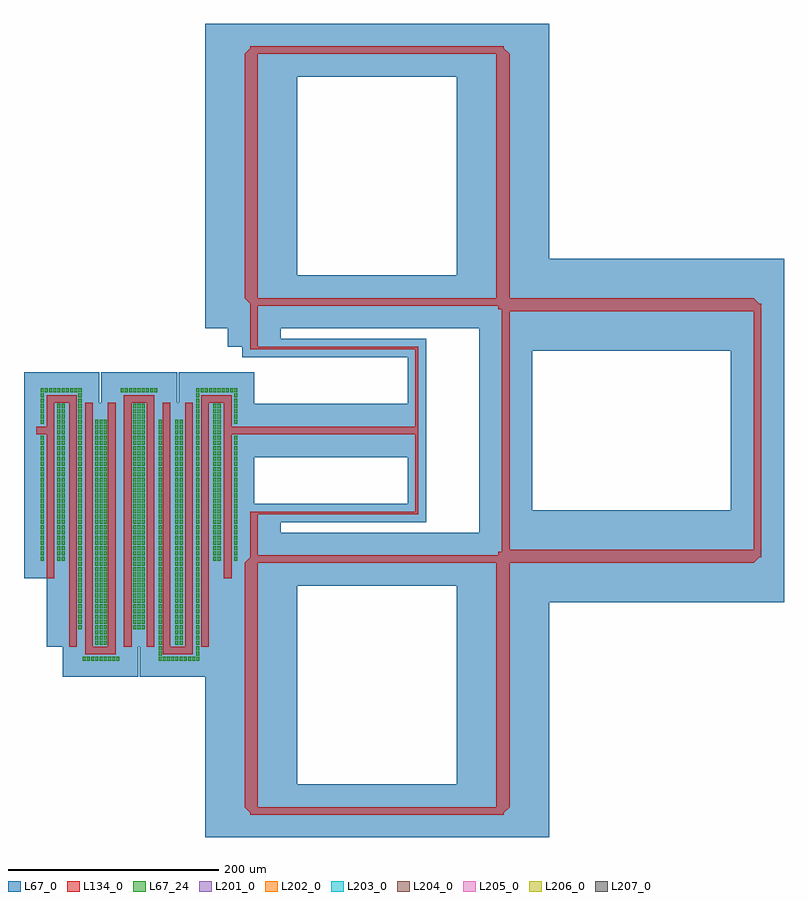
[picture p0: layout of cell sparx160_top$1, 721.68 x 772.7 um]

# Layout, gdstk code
from math import pi, radians
import gdstk
lib = gdstk.Library(unit=1e-6, precision=5e-09)
def R(c, l, rs):  # rectangles x0, y0, x1, y1
    for r in rs: c.add(gdstk.rectangle(r[:2], r[2:], *l))
def P(c, l, *ps):  # polygons
    for p in ps: c.add(gdstk.Polygon(p, *l))
L67_0 = (67, 0)
L67_24 = (67, 24)
L134_0 = (134, 0)
L201_0 = (201, 0)
L202_0 = (202, 0)
L203_0 = (203, 0)
L204_0 = (204, 0)
L205_0 = (205, 0)
L206_0 = (206, 0)
L207_0 = (207, 0)

unnamed_3 = lib.new_cell('Unnamed_3')
R(unnamed_3, L67_0, [(0,0,50.4,87.57)])

unnamed_2 = lib.new_cell('Unnamed_2')
P(unnamed_2, L134_0, [(0,0),(0,7.2),(1.89,7.2),(7.2,12.51),(7.2,0)])
unnamed_2.add(gdstk.Reference(unnamed_3, (-21.6,-37.53)))

straight_gdsfactorypcomp = lib.new_cell('straight_gdsfactorypcomponentspwaveguidespstraight_L231_5d7450e7')
R(straight_gdsfactorypcomp, L134_0, [(0,-6.255,231.795,6.255)])

c_straight_gdsfactorypcomp = lib.new_cell('straight_gdsfactorypcomponentspwaveguidespstraight_L231_cb36f531')
R(c_straight_gdsfactorypcomp, L67_0, [(0,-43.785,231.795,43.785)])

tline_l231p7950000000000 = lib.new_cell('tline_L231p79500000000002_SCStopmetal2_routing_GCSmetal_275d51db')
tline_l231p7950000000000.add(gdstk.Reference(straight_gdsfactorypcomp, (0,0)))
tline_l231p7950000000000.add(gdstk.Reference(c_straight_gdsfactorypcomp, (0,0)))

c_straight_gdsfactorypcomp_ = lib.new_cell('straight_gdsfactorypcomponentspwaveguidespstraight_L226_b9e63a2a')
R(c_straight_gdsfactorypcomp_, L134_0, [(0,-3.6,226.485,3.6)])

c_straight_gdsfactorypcomp__ = lib.new_cell('straight_gdsfactorypcomponentspwaveguidespstraight_L226_19558a9a')
R(c_straight_gdsfactorypcomp__, L67_0, [(0,-25.2,226.485,25.2)])

tline_l226p485_scstopmet = lib.new_cell('tline_L226p485_SCStopmetal2_routing_GCSmetal5_routing_W_1d3a9e0a')
tline_l226p485_scstopmet.add(gdstk.Reference(c_straight_gdsfactorypcomp_, (0,0)))
tline_l226p485_scstopmet.add(gdstk.Reference(c_straight_gdsfactorypcomp__, (0,0)))

c_straight_gdsfactorypcomp___ = lib.new_cell('straight_gdsfactorypcomponentspwaveguidespstraight_L0_N_314f84cf')

c_straight_gdsfactorypcomp____ = lib.new_cell('straight_gdsfactorypcomponentspwaveguidespstraight_L0_N_18075a77')

tline_l0_scstopmetal2_ro = lib.new_cell('tline_L0_SCStopmetal2_routing_GCSmetal5_routing_W7p2_ZNone_N2')
tline_l0_scstopmetal2_ro.add(gdstk.Reference(c_straight_gdsfactorypcomp___, (0,0)))
tline_l0_scstopmetal2_ro.add(gdstk.Reference(c_straight_gdsfactorypcomp____, (0,0)))

branch_line_coupler_cl0_ = lib.new_cell('branch_line_coupler_CL0_F160000000000_SCStopmetal2_rout_0bc8d971')
branch_line_coupler_cl0_.add(gdstk.Reference(unnamed_2, (0,0)))
branch_line_coupler_cl0_.add(gdstk.Reference(tline_l231p7950000000000, (7.2,6.255)))
branch_line_coupler_cl0_.add(gdstk.Reference(unnamed_2, (246.195,0), rotation=pi, x_reflection=True))
branch_line_coupler_cl0_.add(gdstk.Reference(tline_l226p485_scstopmet, (3.6,0), rotation=3*pi/2))
branch_line_coupler_cl0_.add(gdstk.Reference(unnamed_2, (0,-226.485), x_reflection=True))
branch_line_coupler_cl0_.add(gdstk.Reference(tline_l231p7950000000000, (7.2,-232.74)))
branch_line_coupler_cl0_.add(gdstk.Reference(unnamed_2, (246.195,-226.485), rotation=pi))
branch_line_coupler_cl0_.add(gdstk.Reference(tline_l226p485_scstopmet, (242.595,0), rotation=3*pi/2))
branch_line_coupler_cl0_.add(gdstk.Reference(tline_l0_scstopmetal2_ro, (0,3.6), rotation=pi))
branch_line_coupler_cl0_.add(gdstk.Reference(tline_l0_scstopmetal2_ro, (246.195,3.6)))
branch_line_coupler_cl0_.add(gdstk.Reference(tline_l0_scstopmetal2_ro, (246.195,-230.085)))
branch_line_coupler_cl0_.add(gdstk.Reference(tline_l0_scstopmetal2_ro, (0,-230.085), rotation=pi))

tline_corner_l10_scstopm = lib.new_cell('tline_corner_L10_SCStopmetal2_routing_GCSmetal5_routing_4aa254a8')
R(tline_corner_l10_scstopm, L67_0, [(-10.26,-10.26,13.68,13.68)])
R(tline_corner_l10_scstopm, L134_0, [(0,0,3.42,3.42)])

unnamed_16 = lib.new_cell('Unnamed_16')
R(unnamed_16, L67_0, [(0,0,17.57,50.4)])

unnamed_15 = lib.new_cell('Unnamed_15')
R(unnamed_15, L134_0, [(0,0,2.51,7.2)])
unnamed_15.add(gdstk.Reference(unnamed_16, (-7.53,-21.6)))

c_straight_gdsfactorypcomp_____ = lib.new_cell('straight_gdsfactorypcomponentspwaveguidespstraight_L73p_54cef11e')
R(c_straight_gdsfactorypcomp_____, L134_0, [(0,-1.255,73.555,1.255)])

c_straight_gdsfactorypcomp______ = lib.new_cell('straight_gdsfactorypcomponentspwaveguidespstraight_L73p_d8e3ae46')
R(c_straight_gdsfactorypcomp______, L67_0, [(0,-8.785,73.555,8.785)])

tline_l73p555_scstopmeta = lib.new_cell('tline_L73p555_SCStopmetal2_routing_GCSmetal5_routing_W2_d8eaad6d')
tline_l73p555_scstopmeta.add(gdstk.Reference(c_straight_gdsfactorypcomp_____, (0,0)))
tline_l73p555_scstopmeta.add(gdstk.Reference(c_straight_gdsfactorypcomp______, (0,0)))

c_tline_corner_l10_scstopm = lib.new_cell('tline_corner_L10_SCStopmetal2_routing_GCSmetal5_routing_bb404b77')
R(c_tline_corner_l10_scstopm, L67_0, [(-7.53,-7.53,10.04,10.04)])
R(c_tline_corner_l10_scstopm, L134_0, [(0,0,2.51,2.51)])

c_straight_gdsfactorypcomp_______ = lib.new_cell('straight_gdsfactorypcomponentspwaveguidespstraight_L154_e49cfd84')
R(c_straight_gdsfactorypcomp_______, L134_0, [(0,-1.255,154.31,1.255)])

c_straight_gdsfactorypcomp________ = lib.new_cell('straight_gdsfactorypcomponentspwaveguidespstraight_L154_056d6ddc')
R(c_straight_gdsfactorypcomp________, L67_0, [(0,-8.785,154.31,8.785)])

tline_l154p31_scstopmeta = lib.new_cell('tline_L154p31_SCStopmetal2_routing_GCSmetal5_routing_W2_197b1b74')
tline_l154p31_scstopmeta.add(gdstk.Reference(c_straight_gdsfactorypcomp_______, (0,0)))
tline_l154p31_scstopmeta.add(gdstk.Reference(c_straight_gdsfactorypcomp________, (0,0)))

wilkinson_power_divider_ = lib.new_cell('wilkinson_power_divider_CL0_F160000000000_Z50_SCStopmet_65365093')
wilkinson_power_divider_.add(gdstk.Reference(tline_l0_scstopmetal2_ro, (0,0)))
wilkinson_power_divider_.add(gdstk.Reference(unnamed_15, (0,-3.6)))
wilkinson_power_divider_.add(gdstk.Reference(tline_l73p555_scstopmeta, (1.255,3.6), rotation=pi/2))
wilkinson_power_divider_.add(gdstk.Reference(c_tline_corner_l10_scstopm, (2.51,79.665), rotation=pi))
wilkinson_power_divider_.add(gdstk.Reference(tline_l73p555_scstopmeta, (1.255,-3.6), rotation=3*pi/2))
wilkinson_power_divider_.add(gdstk.Reference(c_tline_corner_l10_scstopm, (0,-77.155), rotation=3*pi/2))
wilkinson_power_divider_.add(gdstk.Reference(tline_l154p31_scstopmeta, (2.51,78.41)))
wilkinson_power_divider_.add(gdstk.Reference(tline_l154p31_scstopmeta, (2.51,-78.41)))
wilkinson_power_divider_.add(gdstk.Reference(c_tline_corner_l10_scstopm, (156.82,77.155)))
wilkinson_power_divider_.add(gdstk.Reference(c_tline_corner_l10_scstopm, (159.33,-79.665), rotation=pi/2))
wilkinson_power_divider_.add(gdstk.Reference(tline_l0_scstopmetal2_ro, (155.73,79.665), rotation=pi/2))
wilkinson_power_divider_.add(gdstk.Reference(tline_l0_scstopmetal2_ro, (155.73,-79.665), rotation=3*pi/2))

c_straight_gdsfactorypcomp_________ = lib.new_cell('straight_gdsfactorypcomponentspwaveguidespstraight_L38p_f5dd7e4b')
R(c_straight_gdsfactorypcomp_________, L134_0, [(0,-3.6,38.89,3.6)])

c_straight_gdsfactorypcomp__________ = lib.new_cell('straight_gdsfactorypcomponentspwaveguidespstraight_L38p_774cb26f')
R(c_straight_gdsfactorypcomp__________, L67_0, [(0,-25.2,38.89,25.2)])

tline_l38p8875_scstopmet = lib.new_cell('tline_L38p8875_SCStopmetal2_routing_GCSmetal5_routing_W_2e6dfdda')
tline_l38p8875_scstopmet.add(gdstk.Reference(c_straight_gdsfactorypcomp_________, (0,0)))
tline_l38p8875_scstopmet.add(gdstk.Reference(c_straight_gdsfactorypcomp__________, (0,0)))

c_straight_gdsfactorypcomp___________ = lib.new_cell('straight_gdsfactorypcomponentspwaveguidespstraight_L167_452b5fe8')
R(c_straight_gdsfactorypcomp___________, L134_0, [(0,-3.6,167.18,3.6)])

c_straight_gdsfactorypcomp____________ = lib.new_cell('straight_gdsfactorypcomponentspwaveguidespstraight_L167_4885c99a')
R(c_straight_gdsfactorypcomp____________, L67_0, [(0,-25.2,167.18,25.2)])

tline_l167p181_scstopmet = lib.new_cell('tline_L167p181_SCStopmetal2_routing_GCSmetal5_routing_W_d96e1aa7')
tline_l167p181_scstopmet.add(gdstk.Reference(c_straight_gdsfactorypcomp___________, (0,0)))
tline_l167p181_scstopmet.add(gdstk.Reference(c_straight_gdsfactorypcomp____________, (0,0)))

c_straight_gdsfactorypcomp_____________ = lib.new_cell('straight_gdsfactorypcomponentspwaveguidespstraight_L10__462e98a7')
R(c_straight_gdsfactorypcomp_____________, L134_0, [(0,-3.6,10,3.6)])

c_straight_gdsfactorypcomp______________ = lib.new_cell('straight_gdsfactorypcomponentspwaveguidespstraight_L10__690d543a')
R(c_straight_gdsfactorypcomp______________, L67_0, [(0,-25.2,10,25.2)])

tline_l10_scstopmetal2_r = lib.new_cell('tline_L10_SCStopmetal2_routing_GCSmetal5_routing_WNone_Z50_N2')
tline_l10_scstopmetal2_r.add(gdstk.Reference(c_straight_gdsfactorypcomp_____________, (0,0)))
tline_l10_scstopmetal2_r.add(gdstk.Reference(c_straight_gdsfactorypcomp______________, (0,0)))

c_straight_gdsfactorypcomp_______________ = lib.new_cell('straight_gdsfactorypcomponentspwaveguidespstraight_L166_27507053')
R(c_straight_gdsfactorypcomp_______________, L134_0, [(0,-3.6,166.83,3.6)])

c_straight_gdsfactorypcomp________________ = lib.new_cell('straight_gdsfactorypcomponentspwaveguidespstraight_L166_8440dd5a')
R(c_straight_gdsfactorypcomp________________, L67_0, [(0,-25.2,166.83,25.2)])

tline_l166p83_scstopmeta = lib.new_cell('tline_L166p83_SCStopmetal2_routing_GCSmetal5_routing_WN_d4e773c3')
tline_l166p83_scstopmeta.add(gdstk.Reference(c_straight_gdsfactorypcomp_______________, (0,0)))
tline_l166p83_scstopmeta.add(gdstk.Reference(c_straight_gdsfactorypcomp________________, (0,0)))

coupler_tline_z55p445032 = lib.new_cell('coupler_tline_Z55p445032974130925_Z45p5367147301159_L23_81a19ac5')
R(coupler_tline_z55p445032, L67_0, [(0,-32.52,231.63,32.52)])
R(coupler_tline_z55p445032, L134_0, [(0,-11.13,231.63,-4), (0,4,231.63,11.13)])

rectangle_gdsfactorypcom = lib.new_cell('rectangle_gdsfactorypcomponentspshapesprectangle_S7p2_7_2a688ad3')
R(rectangle_gdsfactorypcom, L134_0, [(0,0,7.2,7.2)])

unnamed_45 = lib.new_cell('Unnamed_45')
R(unnamed_45, L67_0, [(0,0,50.4,50.4)])

c__corner_rectangle_w7p2_l = lib.new_cell('_corner_rectangle_W7p2_L7p2_SCStopmetal2_routing_GCSmet_6323a6bc')
c__corner_rectangle_w7p2_l.add(gdstk.Reference(rectangle_gdsfactorypcom, (0,0)))
c__corner_rectangle_w7p2_l.add(gdstk.Reference(unnamed_45, (-21.6,-21.6)))

c_straight_gdsfactorypcomp_________________ = lib.new_cell('straight_gdsfactorypcomponentspwaveguidespstraight_L14p_fff0b771')
R(c_straight_gdsfactorypcomp_________________, L134_0, [(0,-3.6,14.33,3.6)])

c_straight_gdsfactorypcomp__________________ = lib.new_cell('straight_gdsfactorypcomponentspwaveguidespstraight_L14p_afb3fce0')
R(c_straight_gdsfactorypcomp__________________, L67_0, [(0,-25.2,14.33,25.2)])

tline_l14p33_scstopmetal = lib.new_cell('tline_L14p33_SCStopmetal2_routing_GCSmetal5_routing_WNone_Z50_N2')
tline_l14p33_scstopmetal.add(gdstk.Reference(c_straight_gdsfactorypcomp_________________, (0,0)))
tline_l14p33_scstopmetal.add(gdstk.Reference(c_straight_gdsfactorypcomp__________________, (0,0)))

c_rectangle_gdsfactorypcom = lib.new_cell('rectangle_gdsfactorypcomponentspshapesprectangle_S7p13__ae953bf7')
R(c_rectangle_gdsfactorypcom, L134_0, [(0,0,7.13,7.2)])

unnamed_52 = lib.new_cell('Unnamed_52')
R(unnamed_52, L67_0, [(0,0,49.91,50.4)])

c__corner_rectangle_w7p2_l_ = lib.new_cell('_corner_rectangle_W7p2_L7p13_SCStopmetal2_routing_GCSme_0a65c955')
c__corner_rectangle_w7p2_l_.add(gdstk.Reference(c_rectangle_gdsfactorypcom, (0,0)))
c__corner_rectangle_w7p2_l_.add(gdstk.Reference(unnamed_52, (-21.39,-21.6)))

coupler_tline_z50p349509 = lib.new_cell('coupler_tline_Z50p349509800930605_Z49p65530934184336_L2_123dc688')
R(coupler_tline_z50p349509, L67_0, [(0,-32.8,231.63,32.8)])
R(coupler_tline_z50p349509, L134_0, [(0,-11.2,231.63,-4), (0,4,231.63,11.2)])

c_straight_gdsfactorypcomp___________________ = lib.new_cell('straight_gdsfactorypcomponentspwaveguidespstraight_L14p_055b01f6')
R(c_straight_gdsfactorypcomp___________________, L134_0, [(0,-3.6,14.4,3.6)])

c_straight_gdsfactorypcomp____________________ = lib.new_cell('straight_gdsfactorypcomponentspwaveguidespstraight_L14p_2750b8ef')
R(c_straight_gdsfactorypcomp____________________, L67_0, [(0,-25.2,14.4,25.2)])

tline_l14p4_scstopmetal2 = lib.new_cell('tline_L14p4_SCStopmetal2_routing_GCSmetal5_routing_WNone_Z50_N2')
tline_l14p4_scstopmetal2.add(gdstk.Reference(c_straight_gdsfactorypcomp___________________, (0,0)))
tline_l14p4_scstopmetal2.add(gdstk.Reference(c_straight_gdsfactorypcomp____________________, (0,0)))

c__slit_ground = lib.new_cell('_slit_ground')
R(c__slit_ground, L67_24, [(1.1,1.1,4,5)])

hairpin_coupled_line_ban = lib.new_cell('hairpin_coupled_line_bandpass_filter_O3_F160000000000_B_36ed47b0')
hairpin_coupled_line_ban.add(gdstk.Reference(tline_l10_scstopmetal2_r, (0,0)))
hairpin_coupled_line_ban.add(gdstk.Reference(tline_l166p83_scstopmeta, (13.6,140.395), rotation=3*pi/2))
hairpin_coupled_line_ban.add(gdstk.Reference(coupler_tline_z55p445032, (42.66,205.195), rotation=3*pi/2))
hairpin_coupled_line_ban.add(gdstk.Reference(c__corner_rectangle_w7p2_l, (10,-33.635)))
hairpin_coupled_line_ban.add(gdstk.Reference(tline_l14p33_scstopmetal, (17.2,-30.035)))
hairpin_coupled_line_ban.add(gdstk.Reference(c__corner_rectangle_w7p2_l_, (31.53,-33.635)))
hairpin_coupled_line_ban.add(gdstk.Reference(coupler_tline_z50p349509, (79.32,205.195), rotation=3*pi/2))
hairpin_coupled_line_ban.add(gdstk.Reference(c__corner_rectangle_w7p2_l_, (46.66,205.195)))
hairpin_coupled_line_ban.add(gdstk.Reference(tline_l14p33_scstopmetal, (53.79,208.795)))
hairpin_coupled_line_ban.add(gdstk.Reference(c__corner_rectangle_w7p2_l, (68.12,205.195)))
hairpin_coupled_line_ban.add(gdstk.Reference(coupler_tline_z50p349509, (116.12,205.195), rotation=3*pi/2))
hairpin_coupled_line_ban.add(gdstk.Reference(c__corner_rectangle_w7p2_l, (83.32,-33.635)))
hairpin_coupled_line_ban.add(gdstk.Reference(tline_l14p4_scstopmetal2, (90.52,-30.035)))
hairpin_coupled_line_ban.add(gdstk.Reference(c__corner_rectangle_w7p2_l, (104.92,-33.635)))
hairpin_coupled_line_ban.add(gdstk.Reference(coupler_tline_z55p445032, (152.78,205.195), rotation=3*pi/2))
hairpin_coupled_line_ban.add(gdstk.Reference(c__corner_rectangle_w7p2_l, (120.12,205.195)))
hairpin_coupled_line_ban.add(gdstk.Reference(tline_l14p33_scstopmetal, (127.32,208.795)))
hairpin_coupled_line_ban.add(gdstk.Reference(c__corner_rectangle_w7p2_l_, (141.65,205.195)))
hairpin_coupled_line_ban.add(gdstk.Reference(c__corner_rectangle_w7p2_l_, (156.78,-33.635)))
hairpin_coupled_line_ban.add(gdstk.Reference(tline_l14p33_scstopmetal, (163.91,-30.035)))
hairpin_coupled_line_ban.add(gdstk.Reference(c__corner_rectangle_w7p2_l, (178.24,-33.635)))
hairpin_coupled_line_ban.add(gdstk.Reference(tline_l166p83_scstopmeta, (181.84,140.395), rotation=3*pi/2, x_reflection=True))
hairpin_coupled_line_ban.add(gdstk.Reference(tline_l10_scstopmetal2_r, (185.44,0)))
r = gdstk.Reference(c__slit_ground, (3.3,3.665)); r.repetition = gdstk.Repetition(1, 24, v1=(0,0), v2=(0,5)); hairpin_coupled_line_ban.add(r)
r = gdstk.Reference(c__slit_ground, (187.3,3.665)); r.repetition = gdstk.Repetition(1, 24, v1=(0,0), v2=(0,5)); hairpin_coupled_line_ban.add(r)
r = gdstk.Reference(c__slit_ground, (19.3,-26.335)); r.repetition = gdstk.Repetition(2, 30, v1=(4,0), v2=(0,5)); hairpin_coupled_line_ban.add(r)
r = gdstk.Reference(c__slit_ground, (91.3,-26.335)); r.repetition = gdstk.Repetition(3, 43, v1=(4,0), v2=(0,5)); hairpin_coupled_line_ban.add(r)
r = gdstk.Reference(c__slit_ground, (167.3,-26.335)); r.repetition = gdstk.Repetition(2, 30, v1=(4,0), v2=(0,5)); hairpin_coupled_line_ban.add(r)
r = gdstk.Reference(c__slit_ground, (55.3,-11.335)); r.repetition = gdstk.Repetition(2, 43, v1=(4,0), v2=(0,5)); hairpin_coupled_line_ban.add(r)
r = gdstk.Reference(c__slit_ground, (127.3,-11.335)); r.repetition = gdstk.Repetition(3, 43, v1=(4,0), v2=(0,5)); hairpin_coupled_line_ban.add(r)
r = gdstk.Reference(c__slit_ground, (3.3,-41.335)); r.repetition = gdstk.Repetition(1, 7, v1=(0,0), v2=(0,5)); hairpin_coupled_line_ban.add(r)
r = gdstk.Reference(c__slit_ground, (7.3,-41.335)); r.repetition = gdstk.Repetition(9, 1, v1=(4,0), v2=(0,0)); hairpin_coupled_line_ban.add(r)
r = gdstk.Reference(c__slit_ground, (39.3,-36.335)); r.repetition = gdstk.Repetition(1, 51, v1=(0,0), v2=(0,5)); hairpin_coupled_line_ban.add(r)
r = gdstk.Reference(c__slit_ground, (43.3,213.665)); r.repetition = gdstk.Repetition(9, 1, v1=(4,0), v2=(0,0)); hairpin_coupled_line_ban.add(r)
r = gdstk.Reference(c__slit_ground, (75.3,-11.335)); r.repetition = gdstk.Repetition(1, 45, v1=(0,0), v2=(0,5)); hairpin_coupled_line_ban.add(r)
r = gdstk.Reference(c__slit_ground, (79.3,-41.335)); r.repetition = gdstk.Repetition(9, 1, v1=(4,0), v2=(0,0)); hairpin_coupled_line_ban.add(r)
r = gdstk.Reference(c__slit_ground, (115.3,213.665)); r.repetition = gdstk.Repetition(9, 1, v1=(4,0), v2=(0,0)); hairpin_coupled_line_ban.add(r)
r = gdstk.Reference(c__slit_ground, (151.3,-41.335)); r.repetition = gdstk.Repetition(1, 46, v1=(0,0), v2=(0,5)); hairpin_coupled_line_ban.add(r)
r = gdstk.Reference(c__slit_ground, (155.3,-41.335)); r.repetition = gdstk.Repetition(9, 1, v1=(4,0), v2=(0,0)); hairpin_coupled_line_ban.add(r)
r = gdstk.Reference(c__slit_ground, (187.3,-36.335)); r.repetition = gdstk.Repetition(1, 6, v1=(0,0), v2=(0,5)); hairpin_coupled_line_ban.add(r)

c_rectangle_gdsfactorypcom_ = lib.new_cell('rectangle_gdsfactorypcomponentspshapesprectangle_S0p1_7_a4c304ac')
R(c_rectangle_gdsfactorypcom_, L201_0, [(0,0,0.1,7.2)])

c_rectangle_gdsfactorypcom__ = lib.new_cell('rectangle_gdsfactorypcomponentspshapesprectangle_S0p1_7_f59edcc8')
R(c_rectangle_gdsfactorypcom__, L202_0, [(0,0,0.1,7.2)])

c_rectangle_gdsfactorypcom___ = lib.new_cell('rectangle_gdsfactorypcomponentspshapesprectangle_S7p2_0_c7448680')
R(c_rectangle_gdsfactorypcom___, L203_0, [(0,0,7.2,0.1)])

c_rectangle_gdsfactorypcom____ = lib.new_cell('rectangle_gdsfactorypcomponentspshapesprectangle_S7p2_0_4a67f0ed')
R(c_rectangle_gdsfactorypcom____, L204_0, [(0,0,7.2,0.1)])

c_rectangle_gdsfactorypcom_____ = lib.new_cell('rectangle_gdsfactorypcomponentspshapesprectangle_S7p2_0_aab2b779')
R(c_rectangle_gdsfactorypcom_____, L205_0, [(0,0,7.2,0.1)])

c_rectangle_gdsfactorypcom______ = lib.new_cell('rectangle_gdsfactorypcomponentspshapesprectangle_S7p2_0_d31bf3f4')
R(c_rectangle_gdsfactorypcom______, L206_0, [(0,0,7.2,0.1)])

c_rectangle_gdsfactorypcom_______ = lib.new_cell('rectangle_gdsfactorypcomponentspshapesprectangle_S0p1_7_0882b27c')
R(c_rectangle_gdsfactorypcom_______, L207_0, [(0,0,0.1,7.2)])

sparx160_top_1 = lib.new_cell('sparx160_top$1')
sparx160_top_1.add(gdstk.Reference(branch_line_coupler_cl0_, (-354.895,118.555), rotation=pi/2))
sparx160_top_1.add(gdstk.Reference(branch_line_coupler_cl0_, (-128.41,-118.55), rotation=3*pi/2))
sparx160_top_1.add(gdstk.Reference(branch_line_coupler_cl0_, (-123.1,113.245)))
sparx160_top_1.add(gdstk.Reference(tline_corner_l10_scstopm, (-123.1,118.555), rotation=pi))
sparx160_top_1.add(gdstk.Reference(tline_corner_l10_scstopm, (-123.1,-115.13), rotation=pi))
sparx160_top_1.add(gdstk.Reference(wilkinson_power_divider_, (-202.765,0.005), rotation=pi))
sparx160_top_1.add(gdstk.Reference(tline_l38p8875_scstopmet, (-358.495,118.555), rotation=3*pi/2))
sparx160_top_1.add(gdstk.Reference(tline_l38p8875_scstopmet, (-358.495,-118.55), rotation=pi/2))
sparx160_top_1.add(gdstk.Reference(tline_l167p181_scstopmet, (-202.765,0.005), rotation=pi))
sparx160_top_1.add(gdstk.Reference(hairpin_coupled_line_ban, (-369.945,0.005), rotation=pi))
sparx160_top_1.add(gdstk.Reference(c_rectangle_gdsfactorypcom_, (-565.385,-3.595)))
sparx160_top_1.add(gdstk.Reference(c_rectangle_gdsfactorypcom__, (122.995,113.245)))
sparx160_top_1.add(gdstk.Reference(c_rectangle_gdsfactorypcom___, (-362.095,364.65)))
sparx160_top_1.add(gdstk.Reference(c_rectangle_gdsfactorypcom____, (-128.41,364.65)))
sparx160_top_1.add(gdstk.Reference(c_rectangle_gdsfactorypcom_____, (-362.095,-364.745)))
sparx160_top_1.add(gdstk.Reference(c_rectangle_gdsfactorypcom______, (-128.41,-364.745)))
sparx160_top_1.add(gdstk.Reference(c_rectangle_gdsfactorypcom_______, (122.995,-120.44)))

lib.write_gds('sparx160_top_1.gds')
